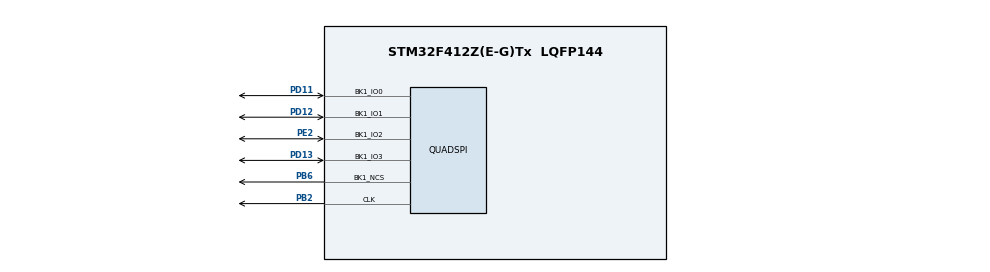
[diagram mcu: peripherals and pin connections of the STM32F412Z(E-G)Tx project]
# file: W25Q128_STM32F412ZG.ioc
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Mcu.Family=STM32F4
Mcu.Name=STM32F412Z(E-G)Tx
Mcu.Package=LQFP144
NVIC.PriorityGroup=NVIC_PRIORITYGROUP_4
PA13.Mode=Serial_Wire
PA13.Signal=SYS_JTMS-SWDIO
PA14.Mode=Serial_Wire
PA14.Signal=SYS_JTCK-SWCLK
PB2.Mode=Single Bank 1
PB2.Signal=QUADSPI_CLK
PB6.GPIO_PuPd=GPIO_PULLUP
PB6.Mode=Single Bank 1
PB6.Signal=QUADSPI_BK1_NCS
PD11.Mode=Single Bank 1
PD11.Signal=QUADSPI_BK1_IO0
PD12.Mode=Single Bank 1
PD12.Signal=QUADSPI_BK1_IO1
PD13.Mode=Single Bank 1
PD13.Signal=QUADSPI_BK1_IO3
PE2.Mode=Single Bank 1
PE2.Signal=QUADSPI_BK1_IO2
ProjectManager.HeapSize=0x200
ProjectManager.StackSize=0x400
ProjectManager.TargetToolchain=EWARM V8.32
QUADSPI.ChipSelectHighTime=QSPI_CS_HIGH_TIME_6_CYCLE
QUADSPI.ClockPrescaler=0
QUADSPI.FifoThreshold=4
QUADSPI.FlashSize=23
QUADSPI.SampleShifting=QSPI_SAMPLE_SHIFTING_HALFCYCLE
RCC.AHBFreq_Value=16000000
RCC.APB1CLKDivider=RCC_HCLK_DIV2
RCC.APB1Freq_Value=8000000
RCC.APB1TimFreq_Value=16000000
RCC.APB2Freq_Value=16000000
RCC.APB2TimFreq_Value=16000000
RCC.CortexFreq_Value=16000000
RCC.HCLKFreq_Value=16000000
RCC.PLLM=8
RCC.PLLN=64
RCC.SYSCLKFreq_VALUE=16000000
RCC.USBFreq_Value=64000000
RCC.VCOOutputFreq_Value=128000000
board=custom

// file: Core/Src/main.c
/* USER CODE BEGIN Header */
/**
  ******************************************************************************
  * @file           : main.c
  * @brief          : Main program body
  ******************************************************************************
  * @attention
  *
  * <h2><center>&copy; Copyright (c) 2020 STMicroelectronics.
  * All rights reserved.</center></h2>
  *
  * This software component is licensed by ST under BSD 3-Clause license,
  * the "License"; You may not use this file except in compliance with the
  * License. You may obtain a copy of the License at:
  *                        opensource.org/licenses/BSD-3-Clause
  *
  ******************************************************************************
  */
/* USER CODE END Header */

#include "main.h"

/* USER CODE BEGIN Includes */
#ifdef KYDEBUG
#include "debug.h"
#endif
#include "Loader_Src.h"
#ifdef FULLDEBUG
#include "array.c"
#define ARRAY_SIZE 130245
#endif
/* USER CODE END Includes */

__no_init QSPI_HandleTypeDef hqspi @0x20000010;

void SystemClock_Config(void);
void MX_GPIO_Init(void);
void MX_QUADSPI_Init(void);
void MX_USART3_UART_Init(void);

#ifdef FULLDEBUG
int main(void)
{
  /* USER CODE BEGIN 1 */
    uint8_t Buf[16];
    uint8_t Str[256];

  /* USER CODE END 1 */

  /* MCU Configuration--------------------------------------------------------*/

  /* Reset of all peripherals, Initializes the Flash interface and the Systick. */
  //HAL_Init();

  /* Configure the system clock */
  //SystemClock_Config();

  /* Initialize all configured peripherals */
  //MX_GPIO_Init();
  //MX_QUADSPI_Init();
  //MX_USART3_UART_Init();
  /* USER CODE BEGIN 2 */
    // Read Test
    Init(0);
    Read(0x90000000, 16, Buf);
    Debug_Init();
    Debug_Print("Read\n");
    Debug_sprintf(Str, " 0:", Buf[0]);
    Debug_Print(Str);
    Debug_sprintf(Str, " 1:", Buf[1]);
    Debug_Print(Str);
    Debug_sprintf(Str, " 2:", Buf[2]);
    Debug_Print(Str);
    Debug_Print("\n");
    // Sector Erase Test
    Init(0);
    SectorErase(0x90000000, 0x90010000);
    Read(0x90000000, 16, Buf);
    Debug_Init();
    Debug_Print("SectorErase\n");
    Debug_sprintf(Str, " 0:", Buf[0]);
    Debug_Print(Str);
    Debug_sprintf(Str, " 1:", Buf[1]);
    Debug_Print(Str);
    Debug_sprintf(Str, " 2:", Buf[2]);
    Debug_Print(Str);
    Debug_Print("\n");
    // Mass Erase Test
    Init(0);
    MassErase();
    Read(0x90000000, 16, Buf);
    Debug_Init();
    Debug_Print("MassErase\n");
    Debug_sprintf(Str, " 0:", Buf[0]);
    Debug_Print(Str);
    Debug_sprintf(Str, " 1:", Buf[1]);
    Debug_Print(Str);
    Debug_sprintf(Str, " 2:", Buf[2]);
    Debug_Print(Str);
    Debug_Print("\n");
    // Write Test
    Init(0);
    Write(0x90000000, ARRAY_SIZE, (uint8_t*)array);
    Read(0x9001e800, 16, Buf);
    Debug_Init();
    Debug_Print("Write\n");
    Debug_sprintf(Str, " 0:", Buf[0]);
    Debug_Print(Str);
    Debug_sprintf(Str, " 1:", Buf[1]);
    Debug_Print(Str);
    Debug_sprintf(Str, " 2:", Buf[2]);
    Debug_Print(Str);
    Debug_Print("\n");

  /* USER CODE END 2 */

  /* Infinite loop */
  while (1)
  {

  }
}
#endif

#if 0
void SystemClock_Config(void)
{
  LL_FLASH_SetLatency(LL_FLASH_LATENCY_0);

  if(LL_FLASH_GetLatency() != LL_FLASH_LATENCY_0)
  {
  Error_Handler();
  }
  LL_PWR_SetRegulVoltageScaling(LL_PWR_REGU_VOLTAGE_SCALE1);
  LL_RCC_HSI_SetCalibTrimming(16);
  LL_RCC_HSI_Enable();

   /* Wait till HSI is ready */
  while(LL_RCC_HSI_IsReady() != 1)
  {

  }
  LL_RCC_SetAHBPrescaler(LL_RCC_SYSCLK_DIV_1);
  LL_RCC_SetAPB1Prescaler(LL_RCC_APB1_DIV_1);
  LL_RCC_SetAPB2Prescaler(LL_RCC_APB2_DIV_1);
  LL_RCC_SetSysClkSource(LL_RCC_SYS_CLKSOURCE_HSI);

   /* Wait till System clock is ready */
  while(LL_RCC_GetSysClkSource() != LL_RCC_SYS_CLKSOURCE_STATUS_HSI)
  {

  }
  LL_SetSystemCoreClock(16000000);

   /* Update the time base */
  if (HAL_InitTick (TICK_INT_PRIORITY) != HAL_OK)
  {
    Error_Handler();
  };
  LL_RCC_SetTIMPrescaler(LL_RCC_TIM_PRESCALER_TWICE);
}
#else
void SystemClock_Config(void)
{
  LL_FLASH_SetLatency(LL_FLASH_LATENCY_3);

  if(LL_FLASH_GetLatency() != LL_FLASH_LATENCY_3)
  {
  Error_Handler();
  }
  LL_PWR_SetRegulVoltageScaling(LL_PWR_REGU_VOLTAGE_SCALE1);
  LL_RCC_HSI_SetCalibTrimming(16);
  LL_RCC_HSI_Enable();

   /* Wait till HSI is ready */
  while(LL_RCC_HSI_IsReady() != 1)
  {

  }
  LL_RCC_PLL_ConfigDomain_SYS(LL_RCC_PLLSOURCE_HSI, LL_RCC_PLLM_DIV_8, 100, LL_RCC_PLLP_DIV_2);
  LL_RCC_PLL_Enable();

   /* Wait till PLL is ready */
  while(LL_RCC_PLL_IsReady() != 1)
  {

  }
  LL_RCC_SetAHBPrescaler(LL_RCC_SYSCLK_DIV_1);
  LL_RCC_SetAPB1Prescaler(LL_RCC_APB1_DIV_2);
  LL_RCC_SetAPB2Prescaler(LL_RCC_APB2_DIV_1);
  LL_RCC_SetSysClkSource(LL_RCC_SYS_CLKSOURCE_PLL);

   /* Wait till System clock is ready */
  while(LL_RCC_GetSysClkSource() != LL_RCC_SYS_CLKSOURCE_STATUS_PLL)
  {

  }
  //LL_Init1msTick(100000000);
  //LL_SYSTICK_SetClkSource(LL_SYSTICK_CLKSOURCE_HCLK);
  //LL_SetSystemCoreClock(100000000);
  //LL_RCC_SetTIMPrescaler(LL_RCC_TIM_PRESCALER_TWICE);
}
#endif

void ResetClock_Config(void)
{
  LL_RCC_SetSysClkSource(LL_RCC_SYS_CLKSOURCE_HSI);
   /* Wait till System clock is ready */
  while(LL_RCC_GetSysClkSource() != LL_RCC_SYS_CLKSOURCE_STATUS_HSI)
  {

  }
  LL_RCC_PLL_Disable();
   /* Wait till PLL is NOT ready */
  while(LL_RCC_PLL_IsReady() == 1)
  {

  }

}

void MX_QUADSPI_Init(void)
{

  /* QUADSPI parameter configuration*/
  hqspi.Instance = QUADSPI;
  hqspi.Init.ClockPrescaler = 0;
  hqspi.Init.FifoThreshold = 4;
  hqspi.Init.SampleShifting = QSPI_SAMPLE_SHIFTING_HALFCYCLE;
  hqspi.Init.FlashSize = 23;
  hqspi.Init.ChipSelectHighTime = QSPI_CS_HIGH_TIME_8_CYCLE;
  hqspi.Init.ClockMode = QSPI_CLOCK_MODE_0;
  hqspi.Init.FlashID = QSPI_FLASH_ID_1;
  hqspi.Init.DualFlash = QSPI_DUALFLASH_DISABLE;
  if (HAL_QSPI_Init(&hqspi) != HAL_OK)
  {
    Error_Handler();
  }

}

void MX_USART3_UART_Init(void)
{

  //LL_USART_InitTypeDef USART_InitStruct = {0};

  LL_GPIO_InitTypeDef GPIO_InitStruct = {0};

  /* Peripheral clock enable */
  LL_APB1_GRP1_EnableClock(LL_APB1_GRP1_PERIPH_USART3);

  LL_AHB1_GRP1_EnableClock(LL_AHB1_GRP1_PERIPH_GPIOD);
  /**USART3 GPIO Configuration
  PD8   ------> USART3_TX
  PD9   ------> USART3_RX
  */
  GPIO_InitStruct.Pin = LL_GPIO_PIN_8|LL_GPIO_PIN_9;
  GPIO_InitStruct.Mode = LL_GPIO_MODE_ALTERNATE;
  GPIO_InitStruct.Speed = LL_GPIO_SPEED_FREQ_VERY_HIGH;
  GPIO_InitStruct.OutputType = LL_GPIO_OUTPUT_PUSHPULL;
  GPIO_InitStruct.Pull = LL_GPIO_PULL_NO;
  GPIO_InitStruct.Alternate = LL_GPIO_AF_7;
  LL_GPIO_Init(GPIOD, &GPIO_InitStruct);

#if 0
  USART_InitStruct.BaudRate = 115200;
  USART_InitStruct.DataWidth = LL_USART_DATAWIDTH_8B;
  USART_InitStruct.StopBits = LL_USART_STOPBITS_1;
  USART_InitStruct.Parity = LL_USART_PARITY_NONE;
  USART_InitStruct.TransferDirection = LL_USART_DIRECTION_TX_RX;
  USART_InitStruct.HardwareFlowControl = LL_USART_HWCONTROL_NONE;
  USART_InitStruct.OverSampling = LL_USART_OVERSAMPLING_16;
  LL_USART_Init(USART3, &USART_InitStruct);
  LL_USART_ConfigAsyncMode(USART3);
  LL_USART_Enable(USART3);
#endif

}

void MX_GPIO_Init(void)
{

  /* GPIO Ports Clock Enable */
  LL_AHB1_GRP1_EnableClock(LL_AHB1_GRP1_PERIPH_GPIOE);
  LL_AHB1_GRP1_EnableClock(LL_AHB1_GRP1_PERIPH_GPIOB);
  LL_AHB1_GRP1_EnableClock(LL_AHB1_GRP1_PERIPH_GPIOD);
  LL_AHB1_GRP1_EnableClock(LL_AHB1_GRP1_PERIPH_GPIOA);

}

void Error_Handler(void)
{
  /* USER CODE BEGIN Error_Handler_Debug */
  /* User can add his own implementation to report the HAL error return state */
    while (1)
        ;

  /* USER CODE END Error_Handler_Debug */
}

/************************ (C) COPYRIGHT STMicroelectronics *****END OF FILE****/
